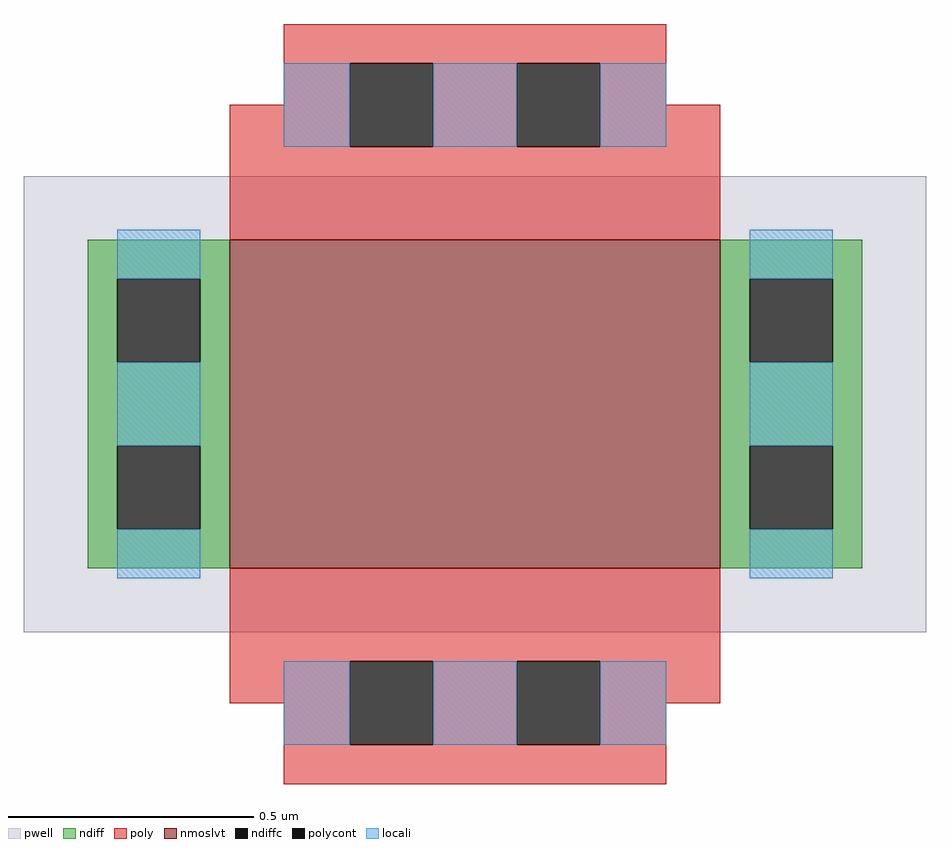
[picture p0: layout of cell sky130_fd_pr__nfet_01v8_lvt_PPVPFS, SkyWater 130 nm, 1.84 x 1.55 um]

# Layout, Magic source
magic
tech sky130A
magscale 1 2
<< pwell >>
rect -184 -93 184 93
<< nmoslvt >>
rect -100 -67 100 67
<< ndiff >>
rect -158 51 -100 67
rect -158 17 -146 51
rect -112 17 -100 51
rect -158 -17 -100 17
rect -158 -51 -146 -17
rect -112 -51 -100 -17
rect -158 -67 -100 -51
rect 100 51 158 67
rect 100 17 112 51
rect 146 17 158 51
rect 100 -17 158 17
rect 100 -51 112 -17
rect 146 -51 158 -17
rect 100 -67 158 -51
<< ndiffc >>
rect -146 17 -112 51
rect -146 -51 -112 -17
rect 112 17 146 51
rect 112 -51 146 -17
<< poly >>
rect -78 139 78 155
rect -78 122 -51 139
rect -100 105 -51 122
rect -17 105 17 139
rect 51 122 78 139
rect 51 105 100 122
rect -100 67 100 105
rect -100 -105 100 -67
rect -100 -122 -51 -105
rect -78 -139 -51 -122
rect -17 -139 17 -105
rect 51 -122 100 -105
rect 51 -139 78 -122
rect -78 -155 78 -139
<< polycont >>
rect -51 105 -17 139
rect 17 105 51 139
rect -51 -139 -17 -105
rect 17 -139 51 -105
<< locali >>
rect -78 105 -51 139
rect -17 105 17 139
rect 51 105 78 139
rect -146 51 -112 71
rect -146 -17 -112 17
rect -146 -71 -112 -51
rect 112 51 146 71
rect 112 -17 146 17
rect 112 -71 146 -51
rect -78 -139 -51 -105
rect -17 -139 17 -105
rect 51 -139 78 -105
<< end >>
